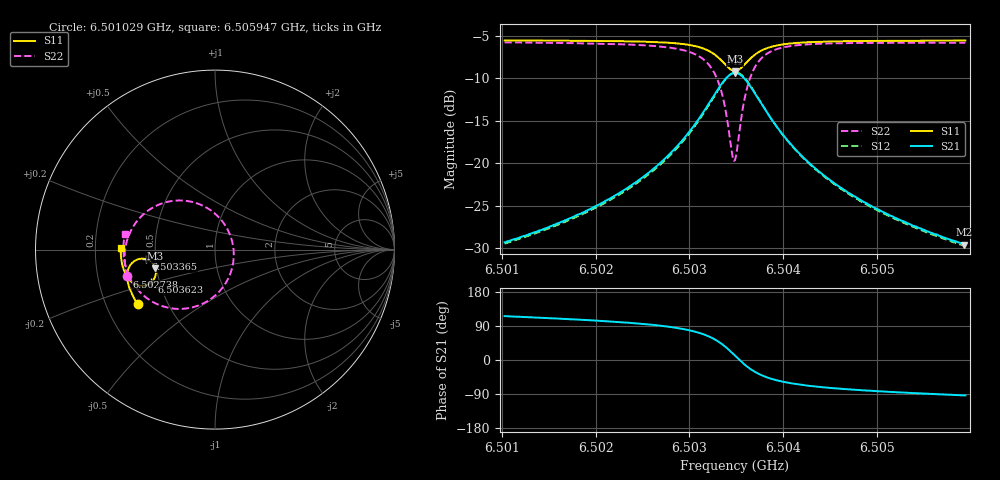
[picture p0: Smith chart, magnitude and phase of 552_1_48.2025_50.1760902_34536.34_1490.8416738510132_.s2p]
#  HZ  S  RI  R  50.00
! Rohde & Schwarz Vector Network Analyzer
! Rohde-Schwarz,ZNB20-2Port,1311601062101988,3.16
! Created: UTC 3/20/2024, 12:00:49 PM
! freq[Hz]  re:S11  im:S11  re:S21  im:S21  re:S12  im:S12  re:S22  im:S22
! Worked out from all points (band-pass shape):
!   401 points, 6.501029 GHz to 6.505947 GHz, reference 50 ohm
!   highest |S21| = -9.39 dB at 6.503488 GHz (marker M1); lowest = -29.6 dB at 6.505935 GHz (marker M2)
!   |S21| within 3 dB of the highest: 6.503243 GHz to 6.503734 GHz (491.2 kHz wide, 0.00755 % of centre)
!   lowest |S11| = -9.2 dB at 6.503488 GHz (marker M3), VSWR 2.07, Z = 24.6 - j5.8 ohm
!   |S11| at or under -10 dB: nowhere
!   |S22| runs from -19.7 to -5.8 dB; largest |S21 - S12| = 0.011
!   S11 on the Smith chart (normalised r, x): 6.501029 GHz: 0.34, -0.29; 6.502738 GHz: 0.33, -0.14; 6.503365 GHz: 0.44, -0.05; 6.503623 GHz: 0.45, -0.19; 6.505947 GHz: 0.31, +0.01
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6.501029e9  -0.4297 -0.3051  -0.0149 0.0308  -0.0131 0.031  -0.4917 -0.1486
6.5018528e9  -0.4646 -0.2436  -0.0141 0.0489  -0.0117 0.0485  -0.5036 -0.0598
6.5022954e9  -0.4799 -0.2038  -0.0111 0.068  -0.00825 0.067  -0.5 0.00381
6.5026766e9  -0.4887 -0.1613  -0.00163 0.0988  0.00186 0.0965  -0.4793 0.0815
6.5027381e9  -0.4892 -0.1529  0.00147 0.1062  0.00513 0.1035  -0.4723 0.0975
6.5029594e9  -0.4858 -0.1177  0.0235 0.1414  0.0271 0.1372  -0.4264 0.1684
6.5031192e9  -0.4713 -0.0855  0.0627 0.1774  0.0655 0.1719  -0.3503 0.2321
6.5032668e9  -0.4335 -0.0557  0.1442 0.2066  0.1449 0.2006  -0.202 0.2738
6.5033651e9  -0.387 -0.0525  0.2357 0.1904  0.2358 0.186  -0.0434 0.2317
6.5034512e9  -0.3438 -0.0814  0.3146 0.116  0.3171 0.1123  0.0824 0.0856
6.5034881e9  -0.3329 -0.1036  0.3325 0.0672  0.3363 0.0623  0.104 -0.0061
6.5035127e9  -0.3296 -0.1199  0.3362 0.0324  0.3402 0.0261  0.1018 -0.0698
6.5035496e9  -0.3317 -0.1441  0.3289 -0.018  0.3327 -0.0263  0.0748 -0.159
6.5036234e9  -0.354 -0.1814  0.2823 -0.0946  0.2827 -0.1059  -0.0351 -0.2831
6.5037217e9  -0.395 -0.2011  0.204 -0.1384  0.1993 -0.1484  -0.1949 -0.3304
6.5038816e9  -0.4445 -0.1935  0.1156 -0.1379  0.1086 -0.1434  -0.3556 -0.2865
6.5040537e9  -0.4737 -0.1723  0.0676 -0.1171  0.0613 -0.1195  -0.4337 -0.2194
6.5043119e9  -0.4962 -0.1409  0.0345 -0.0904  0.0299 -0.0908  -0.4815 -0.1414
6.5047054e9  -0.5126 -0.0994  0.0145 -0.0652  0.0112 -0.0647  -0.5049 -0.0616
6.5051357e9  -0.5213 -0.0592  0.00507 -0.0493  0.00287 -0.0486  -0.5105 -0.000119
6.5059349e9  -0.5264 0.00875  -0.00204 -0.033  -0.00324 -0.0325  -0.5033 0.0861
6.5059472e9  -0.5264 0.00989  -0.00197 -0.0331  -0.0033 -0.0323  -0.5032 0.0872
